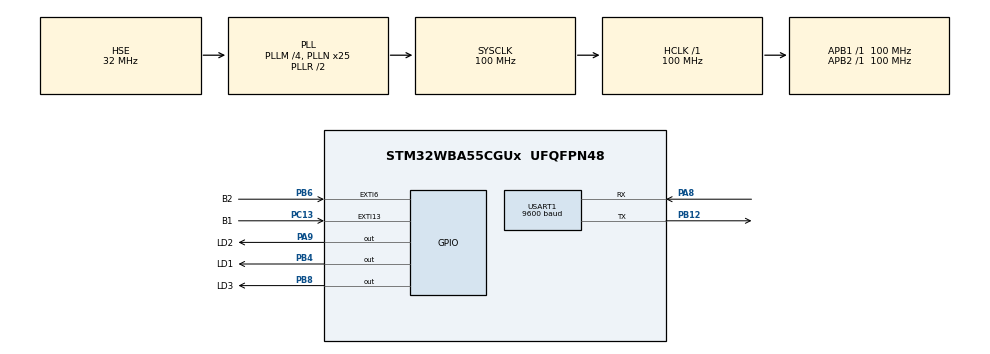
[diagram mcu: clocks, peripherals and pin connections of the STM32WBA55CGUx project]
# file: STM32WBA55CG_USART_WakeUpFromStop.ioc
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CORTEX_M33_NS.userName=CORTEX_M33
GPDMA1.CIRCULARMODE_GPDMACH0=ENABLE
GPDMA1.DESTINC_GPDMACH0=DMA_DINC_INCREMENTED
GPDMA1.DIRECTION_GPDMACH1=DMA_MEMORY_TO_PERIPH
GPDMA1.IPHANDLE_GPDMACH0-SIMPLEREQUEST_GPDMACH0=__NULL
GPDMA1.IPHANDLE_GPDMACH1-SIMPLEREQUEST_GPDMACH1=__NULL
GPDMA1.LINKALLOCATEDPORT_CIRCULAR_GPDMACH0=DMA_LINK_ALLOCATED_PORT1
GPDMA1.REQUEST_GPDMACH0=GPDMA1_REQUEST_USART1_RX
GPDMA1.REQUEST_GPDMACH1=GPDMA1_REQUEST_USART1_TX
GPDMA1.TRANSFERALLOCATEDPORTDEST_GPDMACH0=DMA_DEST_ALLOCATED_PORT1
GPDMA1.TRANSFERALLOCATEDPORTSRC_GPDMACH0=DMA_SRC_ALLOCATED_PORT1
Mcu.Family=STM32WBA
Mcu.Name=STM32WBA55CGUx
Mcu.Package=UFQFPN48
NUCLEO-WBA55CG.BUTTON=1
NUCLEO-WBA55CG.BUTTON2=1
NUCLEO-WBA55CG.LD1=true
NUCLEO-WBA55CG.LD2=true
NUCLEO-WBA55CG.LD3=true
NVIC.EXTI13_IRQn=true\:0\:0\:false\:false\:true\:true\:true\:true
NVIC.EXTI6_IRQn=true\:0\:0\:false\:false\:true\:true\:true\:true
NVIC.GPDMA1_Channel0_IRQn=true\:0\:0\:false\:false\:true\:false\:true\:true
NVIC.GPDMA1_Channel1_IRQn=true\:0\:0\:false\:false\:true\:false\:true\:true
NVIC.PriorityGroup=NVIC_PRIORITYGROUP_4
NVIC.USART1_IRQn=true\:0\:0\:false\:false\:true\:true\:true\:true
OSC_IN.Mode=HSE-External-Oscillator
OSC_IN.Signal=RCC_OSC_IN
OSC_OUT.Mode=HSE-External-Oscillator
OSC_OUT.Signal=RCC_OSC_OUT
PA8.GPIO_Speed=GPIO_SPEED_FREQ_LOW
PA8.Mode=Asynchronous
PA8.Signal=USART1_RX
PA9.GPIO_Label=LD2
PA9.Signal=GPIO_Output
PB12.GPIO_Speed=GPIO_SPEED_FREQ_LOW
PB12.Mode=Asynchronous
PB12.Signal=USART1_TX
PB4\ (NJTRST).GPIO_Label=LD1
PB4\ (NJTRST).Signal=GPIO_Output
PB6.GPIO_Label=B2
PB6.Signal=GPXTI6
PB8.GPIO_Label=LD3
PB8.Signal=GPIO_Output
PC13.GPIO_Label=B1
PC13.Signal=GPXTI13
ProjectManager.HeapSize=0x200
ProjectManager.StackSize=0x400
ProjectManager.TargetToolchain=STM32CubeIDE
RCC.ADCFreq_Value=100000000
RCC.AHB5CLKDivider=DIV4
RCC.AHBFreq_Value=100000000
RCC.APB1Freq_Value=100000000
RCC.APB1TimFreq_Value=100000000
RCC.APB2Freq_Value=100000000
RCC.APB2TimFreq_Value=100000000
RCC.CortexFreq_Value=12500000
RCC.HCLKFreq_Value=100000000
RCC.HSE_VALUE=32000000
RCC.HSI_VALUE=16000000
RCC.LSE_VALUE=32768
RCC.LSI1_VALUE=32000
RCC.LSI2_VALUE=32000
RCC.PLLFRACN=0
RCC.PLLM=4
RCC.PLLN=25
RCC.PLLSourceVirtual=RCC_PLLSOURCE_HSE
RCC.SYSCLKFreq_VALUE=100000000
RCC.SYSCLKSourceVirtual=RCC_SYSCLKSOURCE_PLLCLK
RCC.USART1CLockSelectionVirtual=RCC_USART1CLKSOURCE_HSI
RCC.VCOOutputFreq_Value=200000000
USART1.AutonomousMode=AUTONOMOUS_MODE_ENABLE
USART1.BaudRate=9600
USART1.DataSize=10
USART1.FIFOMode=FIFOMODE_DISABLE
USART1.TriggerPolarity=UART_TRIG_POLARITY_FALLING
USART1.VirtualMode-Asynchronous=VM_ASYNC
VP_CORTEX_M33_NS_VS_Hclk.Mode=Hclk_Mode
VP_GPDMA1_VS_GPDMACH0.Mode=SIMPLEREQUEST_GPDMACH0
VP_GPDMA1_VS_GPDMACH1.Mode=SIMPLEREQUEST_GPDMACH1
VP_ICACHE_VS_ICACHE.Mode=DirectMappedCache
VP_MEMORYMAP_VS_MEMORYMAP.Mode=CurAppReg
VP_PWR_VS_SECSignals.Mode=Security/Privilege
board=NUCLEO-WBA55CG

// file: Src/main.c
/* USER CODE BEGIN Header */
/**
  ******************************************************************************
  * @file           : main.c
  * @brief          : Main program body
  ******************************************************************************
  * @attention
  *
  * Copyright (c) 2025 STMicroelectronics.
  * All rights reserved.
  *
  * This software is licensed under terms that can be found in the LICENSE file
  * in the root directory of this software component.
  * If no LICENSE file comes with this software, it is provided AS-IS.
  *
  ******************************************************************************
  */
/* USER CODE END Header */
#include "main.h"

/* USER CODE BEGIN PD */
#define LED_TOGGLE_DELAY_MS      100U

#define UART_MSG_ACTIVE      "\r\nRunning...\r\n"
#define UART_MSG_ENTER_STOP  "\r\nEntering in Stop mode in 5 seconds!!\r\nSend a character to wake up.\r\n"
#define UART_MSG_WAKEUP      "\r\nWoke up from Stop mode! Received: "
#define UART_NEW_LINE        "\r\n"
/* USER CODE END PD */

UART_HandleTypeDef huart1;
DMA_HandleTypeDef handle_GPDMA1_Channel1;
DMA_NodeTypeDef Node_GPDMA1_Channel0;
DMA_QListTypeDef List_GPDMA1_Channel0;
DMA_HandleTypeDef handle_GPDMA1_Channel0;

/* USER CODE BEGIN PV */
static __IO uint32_t g_timing_delay;
volatile int g_stop_flag = 0;

uint8_t pRxBuff[10];
uint8_t pTxBuff[10] = "Count:  \r\n";
uint8_t u8Inc = 0x30; // 0x30 => ‘0’ ASCII

/* USER CODE END PV */

void SystemClock_Config(void);
static void MX_GPDMA1_Init(void);
static void MX_ICACHE_Init(void);
static void MX_USART1_UART_Init(void);
/* USER CODE BEGIN PFP */
static void Enter_Stop_Mode(void);
/* USER CODE END PFP */

int main(void)
{

  /* MCU Configuration--------------------------------------------------------*/

  /* Reset of all peripherals, Initializes the Flash interface and the Systick. */
  HAL_Init();

  /* USER CODE BEGIN Init */
  // System-level initialization: Enable Power Clock early for PWR HAL functions.
  __HAL_RCC_PWR_CLK_ENABLE();

  /* USER CODE END Init */

  /* Configure the system clock */
  SystemClock_Config();

  /* Initialize all configured peripherals */
  MX_GPIO_Init();
  MX_GPDMA1_Init();
  MX_ICACHE_Init();
  MX_USART1_UART_Init();

  /* Infinite loop */
  while (1)
  {

    /* USER CODE BEGIN 3 */
    pTxBuff[7] = u8Inc++;

    if(u8Inc > 0x39)
    {
    	u8Inc = 0x30;
    }

	HAL_UART_Transmit_DMA(&huart1, pTxBuff, 10);
	HAL_Delay(5000);

    Enter_Stop_Mode();
  }
  /* USER CODE END 3 */
}

void SystemClock_Config(void)
{
  RCC_OscInitTypeDef RCC_OscInitStruct = {0};
  RCC_ClkInitTypeDef RCC_ClkInitStruct = {0};

  /** Supply configuration update enable
  */
  HAL_PWREx_ConfigSupply(PWR_LDO_SUPPLY);

  /** Configure the main internal regulator output voltage
  */
  if (HAL_PWREx_ControlVoltageScaling(PWR_REGULATOR_VOLTAGE_SCALE1) != HAL_OK)
  {
    Error_Handler();
  }

  /** Initializes the CPU, AHB and APB busses clocks
  */
  RCC_OscInitStruct.OscillatorType = RCC_OSCILLATORTYPE_HSI|RCC_OSCILLATORTYPE_HSE;
  RCC_OscInitStruct.HSEState = RCC_HSE_ON;
  RCC_OscInitStruct.HSEDiv = RCC_HSE_DIV1;
  RCC_OscInitStruct.HSIState = RCC_HSI_ON;
  RCC_OscInitStruct.HSICalibrationValue = RCC_HSICALIBRATION_DEFAULT;
  RCC_OscInitStruct.PLL1.PLLState = RCC_PLL_ON;
  RCC_OscInitStruct.PLL1.PLLSource = RCC_PLLSOURCE_HSE;
  RCC_OscInitStruct.PLL1.PLLM = 4;
  RCC_OscInitStruct.PLL1.PLLN = 25;
  RCC_OscInitStruct.PLL1.PLLP = 2;
  RCC_OscInitStruct.PLL1.PLLQ = 2;
  RCC_OscInitStruct.PLL1.PLLR = 2;
  RCC_OscInitStruct.PLL1.PLLFractional = 0;
  if (HAL_RCC_OscConfig(&RCC_OscInitStruct) != HAL_OK)
  {
    Error_Handler();
  }

  /** Initializes the CPU, AHB and APB busses clocks
  */
  RCC_ClkInitStruct.ClockType = RCC_CLOCKTYPE_HCLK|RCC_CLOCKTYPE_SYSCLK
                              |RCC_CLOCKTYPE_PCLK1|RCC_CLOCKTYPE_PCLK2
                              |RCC_CLOCKTYPE_PCLK7|RCC_CLOCKTYPE_HCLK5;
  RCC_ClkInitStruct.SYSCLKSource = RCC_SYSCLKSOURCE_PLLCLK;
  RCC_ClkInitStruct.AHBCLKDivider = RCC_SYSCLK_DIV1;
  RCC_ClkInitStruct.APB1CLKDivider = RCC_HCLK_DIV1;
  RCC_ClkInitStruct.APB2CLKDivider = RCC_HCLK_DIV1;
  RCC_ClkInitStruct.APB7CLKDivider = RCC_HCLK_DIV1;
  RCC_ClkInitStruct.AHB5_PLL1_CLKDivider = RCC_SYSCLK_PLL1_DIV4;
  RCC_ClkInitStruct.AHB5_HSEHSI_CLKDivider = RCC_SYSCLK_HSEHSI_DIV1;

  if (HAL_RCC_ClockConfig(&RCC_ClkInitStruct, FLASH_LATENCY_3) != HAL_OK)
  {
    Error_Handler();
  }
}

static void MX_GPDMA1_Init(void)
{

  /* Peripheral clock enable */
  __HAL_RCC_GPDMA1_CLK_ENABLE();

  /* GPDMA1 interrupt Init */
    HAL_NVIC_SetPriority(GPDMA1_Channel0_IRQn, 0, 0);
    HAL_NVIC_EnableIRQ(GPDMA1_Channel0_IRQn);
    HAL_NVIC_SetPriority(GPDMA1_Channel1_IRQn, 0, 0);
    HAL_NVIC_EnableIRQ(GPDMA1_Channel1_IRQn);

}

static void MX_ICACHE_Init(void)
{

  /** Enable instruction cache in 1-way (direct mapped cache)
  */
  if (HAL_ICACHE_ConfigAssociativityMode(ICACHE_1WAY) != HAL_OK)
  {
    Error_Handler();
  }
  if (HAL_ICACHE_Enable() != HAL_OK)
  {
    Error_Handler();
  }

}

static void MX_USART1_UART_Init(void)
{

  /* USER CODE BEGIN USART1_Init 0 */
  __HAL_RCC_USART1_CLK_ENABLE();

  /* USER CODE END USART1_Init 0 */

  UART_AutonomousModeConfTypeDef sConfigUart1 = {0};

  huart1.Instance = USART1;
  huart1.Init.BaudRate = 9600;
  huart1.Init.WordLength = UART_WORDLENGTH_8B;
  huart1.Init.StopBits = UART_STOPBITS_1;
  huart1.Init.Parity = UART_PARITY_NONE;
  huart1.Init.Mode = UART_MODE_TX_RX;
  huart1.Init.HwFlowCtl = UART_HWCONTROL_NONE;
  huart1.Init.OverSampling = UART_OVERSAMPLING_16;
  huart1.Init.OneBitSampling = UART_ONE_BIT_SAMPLE_DISABLE;
  huart1.Init.ClockPrescaler = UART_PRESCALER_DIV1;
  huart1.AdvancedInit.AdvFeatureInit = UART_ADVFEATURE_NO_INIT;
  if (HAL_UART_Init(&huart1) != HAL_OK)
  {
    Error_Handler();
  }
  if (HAL_UARTEx_SetTxFifoThreshold(&huart1, UART_TXFIFO_THRESHOLD_1_8) != HAL_OK)
  {
    Error_Handler();
  }
  if (HAL_UARTEx_SetRxFifoThreshold(&huart1, UART_RXFIFO_THRESHOLD_1_8) != HAL_OK)
  {
    Error_Handler();
  }
  if (HAL_UARTEx_DisableFifoMode(&huart1) != HAL_OK)
  {
    Error_Handler();
  }
  sConfigUart1.AutonomousModeState = UART_AUTONOMOUS_MODE_ENABLE;
  sConfigUart1.TriggerSelection = UART_GPDMA1_CH0_TCF_TRG;
  sConfigUart1.TriggerPolarity = UART_TRIG_POLARITY_FALLING;
  sConfigUart1.DataSize = 10;
  sConfigUart1.IdleFrame = UART_IDLE_FRAME_DISABLE;
  if (HAL_UARTEx_SetConfigAutonomousMode(&huart1, &sConfigUart1) != HAL_OK)
  {
    Error_Handler();
  }
  /* USER CODE BEGIN USART1_Init 2 */

  /* make sure that no UART transfer is on-going */
  while(__HAL_UART_GET_FLAG(&huart1, USART_ISR_BUSY) == SET);

  /* make sure that UART is ready to receive */
  while(__HAL_UART_GET_FLAG(&huart1, USART_ISR_REACK) == RESET);

  /* Configure USART1 for wakeup from Stop mode */
  UART_WakeUpTypeDef wakeup;
  wakeup.WakeUpEvent = UART_WAKEUP_ON_READDATA_NONEMPTY; // Wakeup on RX data

    if (HAL_UARTEx_StopModeWakeUpSourceConfig(&huart1, wakeup) != HAL_OK)
    {
      Error_Handler();
    }

    if (HAL_UARTEx_EnableStopMode(&huart1) != HAL_OK)
    {
      Error_Handler();
    }

  /* USER CODE END USART1_Init 2 */

}

void MX_GPIO_Init(void)
{
  GPIO_InitTypeDef GPIO_InitStruct = {0};

  /* GPIO Ports Clock Enable */
  __HAL_RCC_GPIOB_CLK_ENABLE();
  __HAL_RCC_GPIOA_CLK_ENABLE();
  __HAL_RCC_GPIOC_CLK_ENABLE();

  /*Configure GPIO pin Output Level */
  HAL_GPIO_WritePin(GPIOB, LD3_Pin|LD1_Pin, GPIO_PIN_RESET);

  /*Configure GPIO pin Output Level */
  HAL_GPIO_WritePin(LD2_GPIO_Port, LD2_Pin, GPIO_PIN_RESET);

  /*Configure GPIO pins : LD3_Pin LD1_Pin */
  GPIO_InitStruct.Pin = LD3_Pin|LD1_Pin;
  GPIO_InitStruct.Mode = GPIO_MODE_OUTPUT_PP;
  GPIO_InitStruct.Pull = GPIO_NOPULL;
  GPIO_InitStruct.Speed = GPIO_SPEED_FREQ_LOW;
  HAL_GPIO_Init(GPIOB, &GPIO_InitStruct);

  /*Configure GPIO pin : B1_Pin */
  GPIO_InitStruct.Pin = B1_Pin;
  GPIO_InitStruct.Mode = GPIO_MODE_IT_RISING;
  GPIO_InitStruct.Pull = GPIO_NOPULL;
  HAL_GPIO_Init(B1_GPIO_Port, &GPIO_InitStruct);

  /*Configure GPIO pin : B2_Pin */
  GPIO_InitStruct.Pin = B2_Pin;
  GPIO_InitStruct.Mode = GPIO_MODE_IT_RISING;
  GPIO_InitStruct.Pull = GPIO_NOPULL;
  HAL_GPIO_Init(B2_GPIO_Port, &GPIO_InitStruct);

  /*Configure GPIO pin : LD2_Pin */
  GPIO_InitStruct.Pin = LD2_Pin;
  GPIO_InitStruct.Mode = GPIO_MODE_OUTPUT_PP;
  GPIO_InitStruct.Pull = GPIO_NOPULL;
  GPIO_InitStruct.Speed = GPIO_SPEED_FREQ_LOW;
  HAL_GPIO_Init(LD2_GPIO_Port, &GPIO_InitStruct);

  /* EXTI interrupt init*/
  HAL_NVIC_SetPriority(EXTI6_IRQn, 0, 0);
  HAL_NVIC_EnableIRQ(EXTI6_IRQn);

  HAL_NVIC_SetPriority(EXTI13_IRQn, 0, 0);
  HAL_NVIC_EnableIRQ(EXTI13_IRQn);

}

/* USER CODE BEGIN 4 */

/**
  * @brief Enter Stop 1 mode and handle wakeup.
  *        This function modularizes the Stop mode entry logic for clarity.
  * @retval None
  */
static void Enter_Stop_Mode(void)
{
  /* Insert 5 second delay before entering Stop mode */
 //HAL_Delay(5000);

  HAL_UART_Receive_DMA(&huart1, pRxBuff, 10);

  /* Enter STOP mode */
  HAL_PWR_EnterSTOPMode(PWR_LOWPOWERREGULATOR_ON, PWR_STOPENTRY_WFI);

  /* Reconfigure system clock after wake-up */
  SystemClock_Config();

  HAL_UART_Transmit_DMA(&huart1, pTxBuff, 10);

  /* After waking up, show message and received data */
  HAL_UART_Transmit(&huart1, (uint8_t*)UART_MSG_WAKEUP, sizeof(UART_MSG_WAKEUP)-1, HAL_MAX_DELAY);
  HAL_UART_Transmit(&huart1, (uint8_t*)UART_NEW_LINE, sizeof(UART_NEW_LINE)-1, HAL_MAX_DELAY);
}

/**
  * @brief SYSTICK callback
  * @param None
  * @retval None
  */
void HAL_SYSTICK_Callback(void)
{
  if (g_timing_delay != 0)
  {
    g_timing_delay--;
  }
  else
  {
    /* Toggle LD1 */
    HAL_GPIO_TogglePin(LD1_GPIO_Port, LD1_Pin);
    g_timing_delay = LED_TOGGLE_DELAY_MS;
  }
}

/**
  * @brief EXTI line detection callbacks
  * @param GPIO_Pin: Specifies the pins connected EXTI line
  * @retval None
  */
void HAL_GPIO_EXTI_Rising_Callback(uint16_t GPIO_Pin)
{
  if (GPIO_Pin == B2_Pin)
  {
    g_stop_flag = 1;
  }
}

/**
  * @brief UART RX complete callback
  * @param huart: UART handle
  * @retval None
  */
//void HAL_UART_RxCpltCallback(UART_HandleTypeDef *huart)
//{
//  if (huart->Instance == USART1)
//  {
//    // Nothing needed here for wakeup; main loop will handle g_rx_data
//    // If you want to echo or process data, you can do it here
//  }
//}

void HAL_UART_RxCpltCallback(UART_HandleTypeDef *huart)
{
	HAL_UART_Transmit_DMA(&huart1,(uint8_t *) "Message Received!\r\n", sizeof("Message Received!\r\n"));
	HAL_UART_Receive_DMA(&huart1, pRxBuff, 10);
}
/* USER CODE END 4 */

void Error_Handler(void)
{
  while (1)
  {
  }
}
